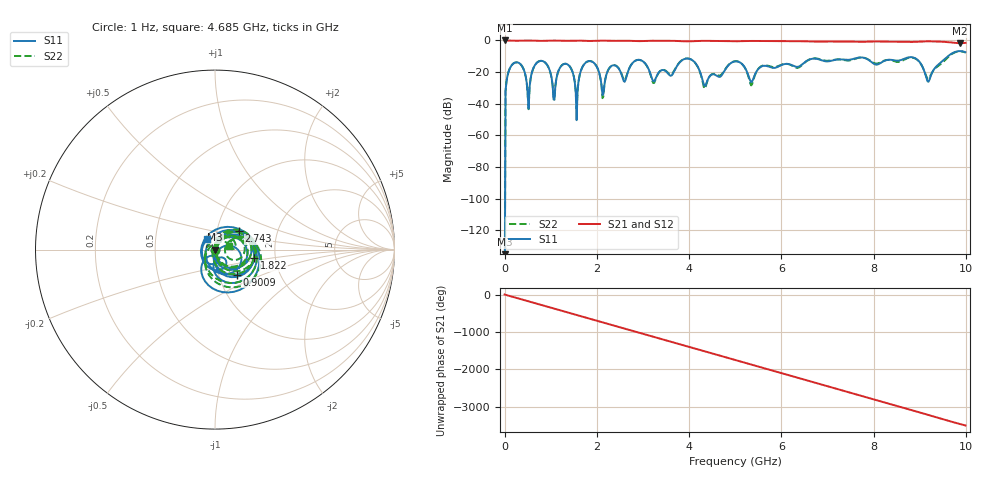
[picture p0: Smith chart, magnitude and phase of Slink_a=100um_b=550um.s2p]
! TouchStone data converted from IdEM dataset
# Hz S DB R 50
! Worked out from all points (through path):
!   500 points, 1 Hz to 9.99 GHz, reference 50 ohm
!   highest |S21| = 0.00 dB at 1 Hz (marker M1); lowest = -1.7 dB at 9.87 GHz (marker M2)
!   group delay of S21, straight-line fit = 974 ps
!   lowest |S11| = -178.0 dB at 1 Hz (marker M3), VSWR 1.00, Z = 50 + j1.26e-07 ohm
!   |S11| at or under -10 dB: start of sweep to 9.611 GHz
!   |S22| runs from -178.0 to -6.9 dB; largest |S21 - S12| = 3.4e-15
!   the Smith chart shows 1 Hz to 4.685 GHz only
!   S11 on the Smith chart (normalised r, x): 1 Hz: 1.00, +0.00; 900.9 MHz: 1.22, -0.35; 1.822 GHz: 1.55, -0.15; 2.743 GHz: 1.28, +0.27; 4.685 GHz: 0.91, +0.11
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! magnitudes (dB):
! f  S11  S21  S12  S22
! 1 Hz  -178.0  0.0  0.0  -178.0
! 60.06 MHz  -22.6  0.0  0.0  -22.6
! 140.1 MHz  -16.2  -0.1  -0.1  -16.2
! 520.5 MHz  -43.0  0.0  0.0  -43.4
! 900.9 MHz  -14.6  -0.2  -0.2  -14.6
! 1.081 GHz  -37.5  -0.1  -0.1  -36.8
! 1.381 GHz  -15.5  -0.2  -0.2  -15.5
! 1.562 GHz  -50.4  -0.1  -0.1  -43.2
! 1.682 GHz  -17.1  -0.2  -0.2  -17.1
! 1.822 GHz  -13.1  -0.3  -0.3  -13.1
! 2.122 GHz  -34.5  -0.1  -0.1  -36.5
! 2.743 GHz  -15.5  -0.3  -0.3  -15.4
! 3.343 GHz  -20.2  -0.2  -0.2  -20.3
! 3.964 GHz  -11.4  -0.6  -0.6  -11.4
! 4.685 GHz  -22.7  -0.3  -0.3  -21.9
! 5.005 GHz  -13.2  -0.5  -0.5  -13.1
! 5.345 GHz  -26.3  -0.3  -0.3  -28.4
! 6.667 GHz  -11.6  -0.7  -0.7  -11.5
! 8.328 GHz  -12.2  -0.8  -0.8  -12.3
! 9.189 GHz  -26.1  -0.6  -0.6  -24.3
! 9.87 GHz  -6.7  -1.7  -1.7  -6.9
! 9.99 GHz  -7.5  -1.5  -1.5  -7.6
